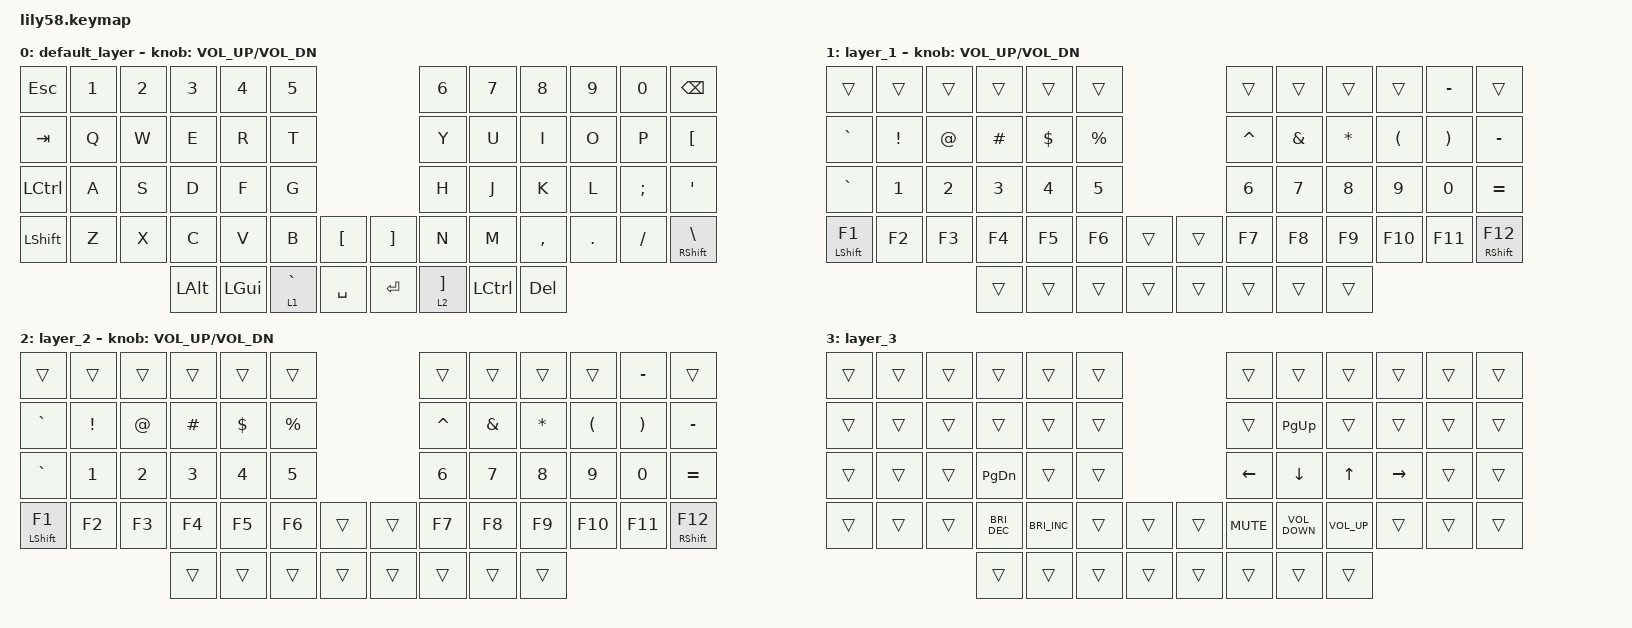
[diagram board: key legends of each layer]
/*
 * Copyright (c) 2020 The ZMK Contributors
 *
 * SPDX-License-Identifier: MIT
 */

#include <behaviors.dtsi>
#include <dt-bindings/zmk/keys.h>

/ {
    combos {
        compatible = "zmk,combos";

        combo_esc {
            timeout-ms = <50>;
            key-positions = <0 1>;
            bindings = <&kp ESC>;
        };

        third-layer {
            bindings = <&lt 3 CAPSLOCK>;
            key-positions = <52 55>;
        };
    };

    behaviors {
        ss_hs_modmorph: ss_hs_modmorph {
            compatible = "zmk,behavior-mod-morph";
            label = "SS_HS_MODMORPH";
            bindings = <&kp M>, <&kp RIGHT_BRACKET>;

            #binding-cells = <0>;
            mods = <(MOD_LSFT|MOD_RSFT)>;
        };

        kh_hs_tapdance: kh_hs_tapdance {
            compatible = "zmk,behavior-tap-dance";
            label = "KH_HS_TAPDANCE";
            #binding-cells = <0>;
            tapping-term-ms = <200>;
            bindings = <&kp LEFT_BRACKET>, <&kp RIGHT_BRACKET>;
        };

        hrm: hrm {
            compatible = "zmk,behavior-hold-tap";
            #binding-cells = <2>;
            flavor = "tap-preferred";
            tapping-term-ms = <200>;
            quick-tap-ms = <200>;
            require-prior-idle-ms = <125>;
            bindings = <&kp>, <&kp>;
        };
    };

    keymap {
        compatible = "zmk,keymap";

        default_layer {
            // ------------------------------------------------------------------------------------------------------------
            // |  ESC  |  1  |  2  |  3   |  4   |  5   |                   |  6   |  7    |  8    |  9   |   0   |   `   |
            // |  TAB  |  Q  |  W  |  E   |  R   |  T   |                   |  Y   |  U    |  I    |  O   |   P   |   -   |
            // |  CTRL |  A  |  S  |  D   |  F   |  G   |                   |  H   |  J    |  K    |  L   |   ;   |   '   |
            // | SHIFT |  Z  |  X  |  C   |  V   |  B   |   "["  |  |  "]"  |  N   |  M    |  ,    |  .   |   /   | SHIFT |
            //                     | ALT  | GUI  | LOWER|  SPACE |  | ENTER | RAISE| BSPC  | GUI   |

            bindings = <
&kp ESC    &kp N1  &kp N2  &kp N3    &kp N4    &kp N5                              &kp N6               &kp N7     &kp N8      &kp N9   &kp N0    &kp BSPC
&kp TAB    &kp Q   &kp W   &kp E     &kp R     &kp T                               &kp Y                &kp U      &kp I       &kp O    &kp P     &kp LEFT_BRACKET
&kp LCTRL  &kp A   &kp S   &kp D     &kp F     &kp G                               &kp H                &kp J      &kp K       &kp L    &kp SEMI  &kp SQT
&kp LSHFT  &kp Z   &kp X   &kp C     &kp V     &kp B        &kp LBKT     &kp RBKT  &kp N                &kp M      &kp COMMA   &kp DOT  &kp FSLH  &mt RIGHT_SHIFT BACKSLASH
                           &kp LALT  &kp LGUI  &lt 1 GRAVE  &kp SPACE    &kp RET   &lt 2 RIGHT_BRACKET  &kp LCTRL  &kp DELETE
            >;

            sensor-bindings = <&inc_dec_kp C_VOL_UP C_VOL_DN>;
        };

        layer_1 {
            bindings = <
&trans             &trans           &trans       &trans    &trans      &trans                         &trans     &trans         &trans        &trans                &kp MINUS              &trans
&kp GRAVE          &kp EXCLAMATION  &kp AT_SIGN  &kp HASH  &kp DOLLAR  &kp PERCENT                    &kp CARET  &kp AMPERSAND  &kp ASTERISK  &kp LEFT_PARENTHESIS  &kp RIGHT_PARENTHESIS  &kp MINUS
&kp GRAVE          &kp N1           &kp N2       &kp N3    &kp N4      &kp N5                         &kp N6     &kp N7         &kp N8        &kp N9                &kp N0                 &kp EQUAL
&mt LEFT_SHIFT F1  &kp F2           &kp F3       &kp F4    &kp F5      &kp F6       &trans    &trans  &kp F7     &kp F8         &kp F9        &kp F10               &kp F11                &mt RIGHT_SHIFT F12
                                                 &trans    &trans      &trans       &trans    &trans  &trans     &trans         &trans
            >;

            sensor-bindings = <&inc_dec_kp C_VOL_UP C_VOL_DN>;
        };

        layer_2 {
            // ------------------------------------------------------------------------------------------------------------
            // |       |     |     |      |      |      |                   |      |       |       |      |       |       |
            // |   `   |  1  |  2  |  3   |  4   |  5   |                   |  6   |   7   |   8   |  9   |   0   |       |
            // |   F1  |  F2 |  F3 |  F4  |  F5  |  F6  |                   |      |   <-  |   v   |  ^   |  ->   |       |
            // |   F7  |  F8 |  F9 |  F10 |  F11 |  F12 |        |  |       |  +   |   -   |   =   |  [   |   ]   |   \   |
            //                     |      |      |      |        |  |       |      |       |       |

            bindings = <
&trans             &trans           &trans       &trans    &trans      &trans                         &trans     &trans         &trans        &trans                &kp MINUS              &trans
&kp GRAVE          &kp EXCLAMATION  &kp AT_SIGN  &kp HASH  &kp DOLLAR  &kp PERCENT                    &kp CARET  &kp AMPERSAND  &kp ASTERISK  &kp LEFT_PARENTHESIS  &kp RIGHT_PARENTHESIS  &kp MINUS
&kp GRAVE          &kp N1           &kp N2       &kp N3    &kp N4      &kp N5                         &kp N6     &kp N7         &kp N8        &kp N9                &kp N0                 &kp EQUAL
&mt LEFT_SHIFT F1  &kp F2           &kp F3       &kp F4    &kp F5      &kp F6       &trans    &trans  &kp F7     &kp F8         &kp F9        &kp F10               &kp F11                &mt RIGHT_SHIFT F12
                                                 &trans    &trans      &trans       &trans    &trans  &trans     &trans         &trans
            >;

            sensor-bindings = <&inc_dec_kp C_VOL_UP C_VOL_DN>;
        };

        layer_3 {
            bindings = <
&trans  &trans  &trans  &trans                &trans                &trans                    &trans      &trans             &trans           &trans     &trans  &trans
&trans  &trans  &trans  &trans                &trans                &trans                    &trans      &kp PAGE_UP        &trans           &trans     &trans  &trans
&trans  &trans  &trans  &kp PAGE_DOWN         &trans                &trans                    &kp LEFT    &kp DOWN           &kp UP           &kp RIGHT  &trans  &trans
&trans  &trans  &trans  &kp C_BRIGHTNESS_DEC  &kp C_BRIGHTNESS_INC  &trans  &trans    &trans  &kp K_MUTE  &kp C_VOLUME_DOWN  &kp C_VOLUME_UP  &trans     &trans  &trans
                        &trans                &trans                &trans  &trans    &trans  &trans      &trans             &trans
            >;
        };
    };
};
